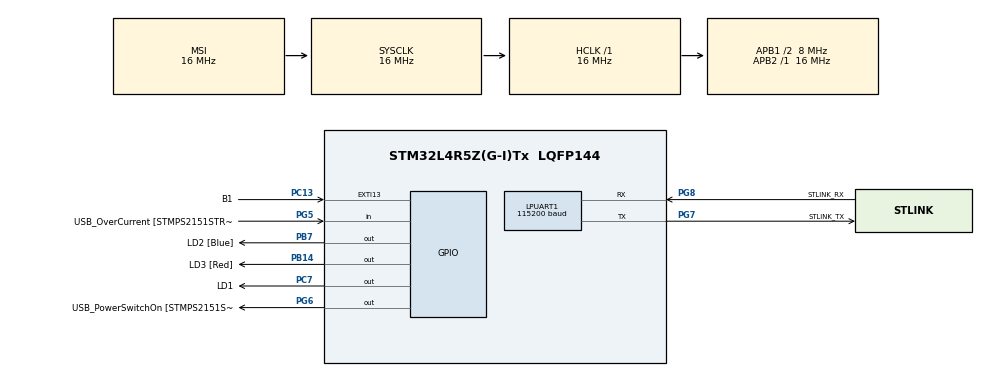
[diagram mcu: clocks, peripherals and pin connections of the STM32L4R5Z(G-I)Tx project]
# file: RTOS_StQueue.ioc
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LPUART1.BaudRate=115200
LPUART1.WordLength=UART_WORDLENGTH_8B
Mcu.Family=STM32L4
Mcu.Name=STM32L4R5Z(G-I)Tx
Mcu.Package=LQFP144
NVIC.PriorityGroup=NVIC_PRIORITYGROUP_4
NVIC.TIM1_UP_TIM16_IRQn=true\:15\:0\:false\:false\:true\:false\:true\:true
NVIC.TimeBase=TIM1_UP_TIM16_IRQn
NVIC.TimeBaseIP=TIM1
PA10.GPIO_Label=USB_ID
PA10.Signal=USB_OTG_FS_ID
PA11.GPIO_Label=USB_DM
PA11.Signal=USB_OTG_FS_DM
PA12.GPIO_Label=USB_DP
PA12.Signal=USB_OTG_FS_DP
PA13\ (JTMS/SWDIO).GPIO_Label=TMS
PA13\ (JTMS/SWDIO).Mode=Serial_Wire
PA13\ (JTMS/SWDIO).Signal=SYS_JTMS-SWDIO
PA14\ (JTCK/SWCLK).GPIO_Label=TCK
PA14\ (JTCK/SWCLK).Mode=Serial_Wire
PA14\ (JTCK/SWCLK).Signal=SYS_JTCK-SWCLK
PA8.GPIO_Label=USB_SOF [TP1]
PA8.Signal=USB_OTG_FS_SOF
PA9.GPIO_Label=USB_VBUS
PA9.Signal=USB_OTG_FS_VBUS
PB14.GPIO_Label=LD3 [Red]
PB14.Signal=GPIO_Output
PB3\ (JTDO/TRACESWO).GPIO_Label=SWO
PB3\ (JTDO/TRACESWO).Signal=SYS_JTDO-SWO
PB7.GPIO_Label=LD2 [Blue]
PB7.Signal=GPIO_Output
PC13.GPIO_Label=B1
PC13.Signal=GPXTI13
PC14-OSC32_IN\ (PC14).Mode=LSE-External-Oscillator
PC14-OSC32_IN\ (PC14).Signal=RCC_OSC32_IN
PC15-OSC32_OUT\ (PC15).Mode=LSE-External-Oscillator
PC15-OSC32_OUT\ (PC15).Signal=RCC_OSC32_OUT
PC7.GPIO_Label=LD1
PC7.Signal=GPIO_Output
PD8.GPIO_Label=STLK_RX [STM32F103CBT6_PA3]
PD8.Signal=USART3_TX
PD9.GPIO_Label=STLK_TX [STM32F103CBT6_PA2]
PD9.Signal=USART3_RX
PG5.GPIO_Label=USB_OverCurrent [STMPS2151STR_FAULT]
PG5.Signal=GPIO_Input
PG6.GPIO_Label=USB_PowerSwitchOn [STMPS2151STR_En]
PG6.Signal=GPIO_Output
PG7.GPIO_Label=STLINK_TX
PG7.Mode=Asynchronous
PG7.Signal=LPUART1_TX
PG8.GPIO_Label=STLINK_RX
PG8.Mode=Asynchronous
PG8.Signal=LPUART1_RX
PH0-OSC_IN\ (PH0).Mode=HSE-External-Clock-Source
PH0-OSC_IN\ (PH0).Signal=RCC_OSC_IN
PH1-OSC_OUT\ (PH1).Signal=RCC_OSC_OUT
ProjectManager.HeapSize=0x200
ProjectManager.StackSize=0x400
ProjectManager.TargetToolchain=STM32CubeIDE
RCC.48MHZClocksFreq_Value=24000000
RCC.ADCFreq_Value=64000000
RCC.AHBFreq_Value=16000000
RCC.APB1CLKDivider=RCC_HCLK_DIV2
RCC.APB1Freq_Value=8000000
RCC.APB1TimFreq_Value=16000000
RCC.APB2Freq_Value=16000000
RCC.APB2TimFreq_Value=16000000
RCC.CortexFreq_Value=16000000
RCC.HCLKFreq_Value=16000000
RCC.HSE_VALUE=8000000
RCC.HSI48_VALUE=48000000
RCC.HSI_VALUE=16000000
RCC.MSIClockRange=RCC_MSIRANGE_8
RCC.MSI_VALUE=16000000
RCC.PLLMUL=RCC_PLL_MUL9
RCC.PRESCALERUSB=RCC_USBCLKSOURCE_PLL_DIV1_5
RCC.SYSCLKFreq_VALUE=16000000
RCC.SYSCLKSourceVirtual=RCC_SYSCLKSOURCE_PLLCLK
RCC.USBFreq_Value=64000000
RCC.VCOOutputFreq_Value=128000000
VP_SYS_VS_tim1.Mode=TIM1
board=NUCLEO-L4R5ZI

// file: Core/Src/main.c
/* USER CODE BEGIN Header */
/**
  ******************************************************************************
  * @file           : main.c
  * @brief          : Main program body
  ******************************************************************************
  * @attention
  *
  * Copyright (c) 2024 STMicroelectronics.
  * All rights reserved.
  *
  * This software is licensed under terms that can be found in the LICENSE file
  * in the root directory of this software component.
  * If no LICENSE file comes with this software, it is provided AS-IS.
  *
  ******************************************************************************
  */
/* USER CODE END Header */
#include "main.h"

/* USER CODE BEGIN Includes */
#include "FreeRTOS.h"
#include "task.h"
#include "queue.h"
#include "stdio.h"
/* USER CODE END Includes */

UART_HandleTypeDef hlpuart1;

/* USER CODE BEGIN PV */
QueueHandle_t st_queue_handler;

TaskHandle_t lpt_task_handler,hpt_task_handler,receiver_handler;

int index1 = 0, index2 = 0;

typedef struct{
	char *str;
	int num;
	uint16_t value;
}my_struct;

/* USER CODE END PV */

void SystemClock_Config(void);
static void MX_GPIO_Init(void);
static void MX_LPUART1_UART_Init(void);

/* USER CODE BEGIN 0 */
void Sender_HPT_Task(void  * argument);
void Sender_LPT_Task(void  * argument);
void Receiver_Task(void  * argument);

/* USER CODE END 0 */

int main(void)
{

  /* MCU Configuration--------------------------------------------------------*/

  /* Reset of all peripherals, Initializes the Flash interface and the Systick. */
  HAL_Init();

  /* Configure the system clock */
  SystemClock_Config();

  /* Initialize all configured peripherals */
  MX_GPIO_Init();
  MX_LPUART1_UART_Init();
  /* USER CODE BEGIN 2 */
  xTaskCreate(Sender_HPT_Task, "Sender1", 1024, NULL, 2, &lpt_task_handler);
  xTaskCreate(Sender_LPT_Task, "Sender2", 1024, NULL, 1, &hpt_task_handler);
  xTaskCreate(Receiver_Task, "Receiver", 1024, NULL, 1, &receiver_handler);

  st_queue_handler = xQueueCreate(2,sizeof(my_struct));
  if(st_queue_handler == 0)
  {
	  uint8_t ret[] = "failed to create queue\n\r";
	  HAL_UART_Transmit(&hlpuart1, ret, sizeof(ret), 1000);
  }

  vTaskStartScheduler();
  /* USER CODE END 2 */

  /* Infinite loop */
  while (1)
  {

  }
}

void SystemClock_Config(void)
{
  RCC_OscInitTypeDef RCC_OscInitStruct = {0};
  RCC_ClkInitTypeDef RCC_ClkInitStruct = {0};

  /** Configure the main internal regulator output voltage
  */
  if (HAL_PWREx_ControlVoltageScaling(PWR_REGULATOR_VOLTAGE_SCALE1) != HAL_OK)
  {
    Error_Handler();
  }

  /** Initializes the RCC Oscillators according to the specified parameters
  * in the RCC_OscInitTypeDef structure.
  */
  RCC_OscInitStruct.OscillatorType = RCC_OSCILLATORTYPE_MSI;
  RCC_OscInitStruct.MSIState = RCC_MSI_ON;
  RCC_OscInitStruct.MSICalibrationValue = 0;
  RCC_OscInitStruct.MSIClockRange = RCC_MSIRANGE_8;
  RCC_OscInitStruct.PLL.PLLState = RCC_PLL_NONE;
  if (HAL_RCC_OscConfig(&RCC_OscInitStruct) != HAL_OK)
  {
    Error_Handler();
  }

  /** Initializes the CPU, AHB and APB buses clocks
  */
  RCC_ClkInitStruct.ClockType = RCC_CLOCKTYPE_HCLK|RCC_CLOCKTYPE_SYSCLK
                              |RCC_CLOCKTYPE_PCLK1|RCC_CLOCKTYPE_PCLK2;
  RCC_ClkInitStruct.SYSCLKSource = RCC_SYSCLKSOURCE_MSI;
  RCC_ClkInitStruct.AHBCLKDivider = RCC_SYSCLK_DIV1;
  RCC_ClkInitStruct.APB1CLKDivider = RCC_HCLK_DIV2;
  RCC_ClkInitStruct.APB2CLKDivider = RCC_HCLK_DIV1;

  if (HAL_RCC_ClockConfig(&RCC_ClkInitStruct, FLASH_LATENCY_0) != HAL_OK)
  {
    Error_Handler();
  }
}

static void MX_LPUART1_UART_Init(void)
{

  hlpuart1.Instance = LPUART1;
  hlpuart1.Init.BaudRate = 115200;
  hlpuart1.Init.WordLength = UART_WORDLENGTH_8B;
  hlpuart1.Init.StopBits = UART_STOPBITS_1;
  hlpuart1.Init.Parity = UART_PARITY_NONE;
  hlpuart1.Init.Mode = UART_MODE_TX_RX;
  hlpuart1.Init.HwFlowCtl = UART_HWCONTROL_NONE;
  hlpuart1.Init.OneBitSampling = UART_ONE_BIT_SAMPLE_DISABLE;
  hlpuart1.Init.ClockPrescaler = UART_PRESCALER_DIV1;
  hlpuart1.AdvancedInit.AdvFeatureInit = UART_ADVFEATURE_NO_INIT;
  hlpuart1.FifoMode = UART_FIFOMODE_DISABLE;
  if (HAL_UART_Init(&hlpuart1) != HAL_OK)
  {
    Error_Handler();
  }
  if (HAL_UARTEx_SetTxFifoThreshold(&hlpuart1, UART_TXFIFO_THRESHOLD_1_8) != HAL_OK)
  {
    Error_Handler();
  }
  if (HAL_UARTEx_SetRxFifoThreshold(&hlpuart1, UART_RXFIFO_THRESHOLD_1_8) != HAL_OK)
  {
    Error_Handler();
  }
  if (HAL_UARTEx_DisableFifoMode(&hlpuart1) != HAL_OK)
  {
    Error_Handler();
  }

}

static void MX_GPIO_Init(void)
{
  GPIO_InitTypeDef GPIO_InitStruct = {0};

  /* GPIO Ports Clock Enable */
  __HAL_RCC_GPIOC_CLK_ENABLE();
  __HAL_RCC_GPIOH_CLK_ENABLE();
  __HAL_RCC_GPIOB_CLK_ENABLE();
  __HAL_RCC_GPIOD_CLK_ENABLE();
  __HAL_RCC_GPIOG_CLK_ENABLE();
  HAL_PWREx_EnableVddIO2();
  __HAL_RCC_GPIOA_CLK_ENABLE();

  /*Configure GPIO pin Output Level */
  HAL_GPIO_WritePin(GPIOB, LD3_Pin|LD2_Pin, GPIO_PIN_RESET);

  /*Configure GPIO pin Output Level */
  HAL_GPIO_WritePin(USB_PowerSwitchOn_GPIO_Port, USB_PowerSwitchOn_Pin, GPIO_PIN_RESET);

  /*Configure GPIO pin Output Level */
  HAL_GPIO_WritePin(LD1_GPIO_Port, LD1_Pin, GPIO_PIN_RESET);

  /*Configure GPIO pin : B1_Pin */
  GPIO_InitStruct.Pin = B1_Pin;
  GPIO_InitStruct.Mode = GPIO_MODE_IT_RISING;
  GPIO_InitStruct.Pull = GPIO_NOPULL;
  HAL_GPIO_Init(B1_GPIO_Port, &GPIO_InitStruct);

  /*Configure GPIO pins : LD3_Pin LD2_Pin */
  GPIO_InitStruct.Pin = LD3_Pin|LD2_Pin;
  GPIO_InitStruct.Mode = GPIO_MODE_OUTPUT_PP;
  GPIO_InitStruct.Pull = GPIO_NOPULL;
  GPIO_InitStruct.Speed = GPIO_SPEED_FREQ_LOW;
  HAL_GPIO_Init(GPIOB, &GPIO_InitStruct);

  /*Configure GPIO pins : STLK_RX_Pin STLK_TX_Pin */
  GPIO_InitStruct.Pin = STLK_RX_Pin|STLK_TX_Pin;
  GPIO_InitStruct.Mode = GPIO_MODE_AF_PP;
  GPIO_InitStruct.Pull = GPIO_NOPULL;
  GPIO_InitStruct.Speed = GPIO_SPEED_FREQ_VERY_HIGH;
  GPIO_InitStruct.Alternate = GPIO_AF7_USART3;
  HAL_GPIO_Init(GPIOD, &GPIO_InitStruct);

  /*Configure GPIO pin : USB_OverCurrent_Pin */
  GPIO_InitStruct.Pin = USB_OverCurrent_Pin;
  GPIO_InitStruct.Mode = GPIO_MODE_INPUT;
  GPIO_InitStruct.Pull = GPIO_NOPULL;
  HAL_GPIO_Init(USB_OverCurrent_GPIO_Port, &GPIO_InitStruct);

  /*Configure GPIO pin : USB_PowerSwitchOn_Pin */
  GPIO_InitStruct.Pin = USB_PowerSwitchOn_Pin;
  GPIO_InitStruct.Mode = GPIO_MODE_OUTPUT_PP;
  GPIO_InitStruct.Pull = GPIO_NOPULL;
  GPIO_InitStruct.Speed = GPIO_SPEED_FREQ_LOW;
  HAL_GPIO_Init(USB_PowerSwitchOn_GPIO_Port, &GPIO_InitStruct);

  /*Configure GPIO pin : LD1_Pin */
  GPIO_InitStruct.Pin = LD1_Pin;
  GPIO_InitStruct.Mode = GPIO_MODE_OUTPUT_PP;
  GPIO_InitStruct.Pull = GPIO_NOPULL;
  GPIO_InitStruct.Speed = GPIO_SPEED_FREQ_LOW;
  HAL_GPIO_Init(LD1_GPIO_Port, &GPIO_InitStruct);

  /*Configure GPIO pins : USB_SOF_Pin USB_ID_Pin USB_DM_Pin USB_DP_Pin */
  GPIO_InitStruct.Pin = USB_SOF_Pin|USB_ID_Pin|USB_DM_Pin|USB_DP_Pin;
  GPIO_InitStruct.Mode = GPIO_MODE_AF_PP;
  GPIO_InitStruct.Pull = GPIO_NOPULL;
  GPIO_InitStruct.Speed = GPIO_SPEED_FREQ_VERY_HIGH;
  GPIO_InitStruct.Alternate = GPIO_AF10_OTG_FS;
  HAL_GPIO_Init(GPIOA, &GPIO_InitStruct);

  /*Configure GPIO pin : USB_VBUS_Pin */
  GPIO_InitStruct.Pin = USB_VBUS_Pin;
  GPIO_InitStruct.Mode = GPIO_MODE_INPUT;
  GPIO_InitStruct.Pull = GPIO_NOPULL;
  HAL_GPIO_Init(USB_VBUS_GPIO_Port, &GPIO_InitStruct);

}

/* USER CODE BEGIN 4 */
void Sender_HPT_Task(void * argument)
{
	my_struct *ptr;
	while(1)
	{
		ptr = pvPortMalloc(sizeof(my_struct));

		ptr->num = index1++;
		ptr->str = "Higher_pripority task";
		ptr->value = 0x1234;

		if(xQueueSend(st_queue_handler,&ptr,10) == pdPASS){
			HAL_GPIO_TogglePin(LD1_GPIO_Port, LD1_Pin);
		}
		vTaskDelay(pdMS_TO_TICKS(2000));

	}
}
void Sender_LPT_Task(void *argument)
{
	my_struct *ptr;
	while(1)
	{
		ptr = pvPortMalloc(sizeof(my_struct));

		ptr->num = index2++;
		ptr->str = "Lower_pripority task";
		ptr->value = 0x2345;

		if(xQueueSend(st_queue_handler,&ptr,0) == pdPASS){
			HAL_GPIO_TogglePin(LD2_GPIO_Port, LD2_Pin);
		}

		vTaskDelay(pdMS_TO_TICKS(2000));
	}

}
void Receiver_Task(void *argument)
{
	my_struct *rptr;
	char *lptr;

	while(1)
	{
		if(xQueueReceive(st_queue_handler, &rptr, 100) == pdPASS){

			lptr = pvPortMalloc(150*sizeof(char));
			int len = sprintf(lptr,"string is = %s number is %d value is %0x\n\r",rptr->str,rptr->num,rptr->value);
			HAL_GPIO_TogglePin(LD3_GPIO_Port, LD3_Pin);
			HAL_UART_Transmit(&hlpuart1, (uint8_t*)lptr, len, 1000);
			vPortFree(lptr);
		}
		vPortFree(rptr);
		vTaskDelay(pdMS_TO_TICKS(1000));
	}
}
/* USER CODE END 4 */

void HAL_TIM_PeriodElapsedCallback(TIM_HandleTypeDef *htim)
{
  if (htim->Instance == TIM1) {
    HAL_IncTick();
  }
}

void Error_Handler(void)
{
  __disable_irq();
  while (1)
  {
  }
}
